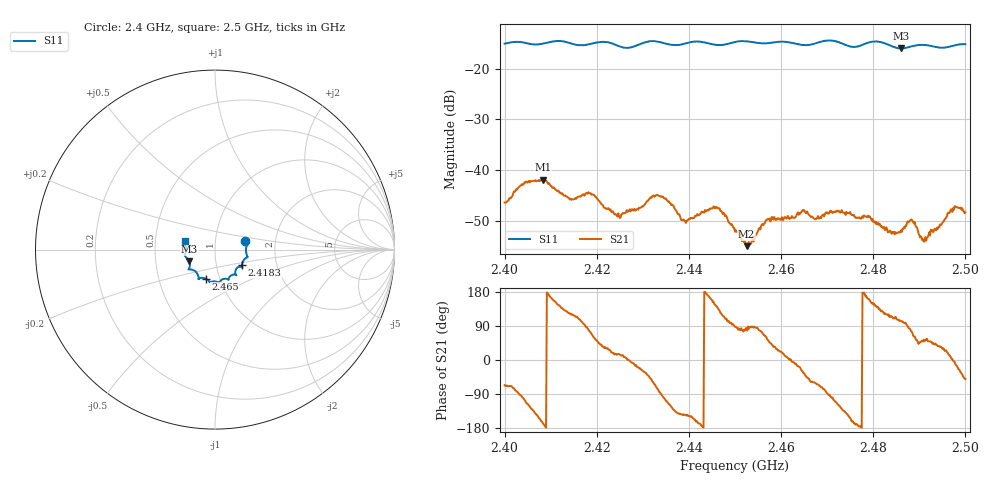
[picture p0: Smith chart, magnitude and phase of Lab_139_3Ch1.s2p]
# Hz S RI R 50
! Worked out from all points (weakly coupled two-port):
!   601 points, 2.4 GHz to 2.5 GHz, reference 50 ohm
!   highest |S21| = -41.90 dB at 2.4083 GHz (marker M1); lowest = -55.0 dB at 2.4525 GHz (marker M2)
!   lowest |S11| = -16.1 dB at 2.486 GHz (marker M3), VSWR 1.37, Z = 37.2 - j4.98 ohm
!   |S11| at or under -10 dB: start of sweep to end of sweep
!   S12 and S22 are empty: the file has one direction only
!   S11 on the Smith chart (normalised r, x): 2.4 GHz: 1.40, +0.13; 2.4183 GHz: 1.33, -0.24; 2.465 GHz: 0.86, -0.29; 2.5 GHz: 0.71, +0.07
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2.4e9  0.1696 0.0458  0.00191 -0.00439  0 0  0 0
2.404167e9  0.1782 0.0261  -0.00159 -0.00711  0 0  0 0
2.408333e9  0.1749 -0.0199  -0.00785 -0.00172  0 0  0 0
2.414167e9  0.1717 -0.0471  -0.00277 0.00431  0 0  0 0
2.416667e9  0.1549 -0.068  -0.00114 0.00544  0 0  0 0
2.418333e9  0.15 -0.0871  0.00131 0.00577  0 0  0 0
2.424667e9  0.1371 -0.0953  0.0036 0.00103  0 0  0 0
2.433333e9  0.1174 -0.1409  0.00108 -0.00552  0 0  0 0
2.438833e9  0.0783 -0.1561  -0.00262 -0.00194  0 0  0 0
2.446167e9  0.0517 -0.1626  -0.00324 0.00279  0 0  0 0
2.45e9  0.0254 -0.1809  0.000113 0.00246  0 0  0 0
2.4525e9  0.0204 -0.1843  0.000182 0.00177  0 0  0 0
2.457e9  -0.00978 -0.1772  0.0019 0.00264  0 0  0 0
2.465e9  -0.0524 -0.1619  0.00329 -0.00231  0 0  0 0
2.466667e9  -0.0715 -0.1574  0.0019 -0.00293  0 0  0 0
2.474667e9  -0.0985 -0.1341  -0.00321 -0.00198  0 0  0 0
2.483333e9  -0.1413 -0.0965  -0.00125 0.00213  0 0  0 0
2.486e9  -0.1434 -0.0653  -0.000572 0.00248  0 0  0 0
2.4885e9  -0.1603 -0.0433  0.00103 0.00299  0 0  0 0
2.491167e9  -0.1673 -0.033  0.00126 0.00153  0 0  0 0
2.497333e9  -0.1648 0.0305  0.00421 -0.000163  0 0  0 0
2.5e9  -0.1672 0.047  0.00245 -0.00294  0 0  0 0
